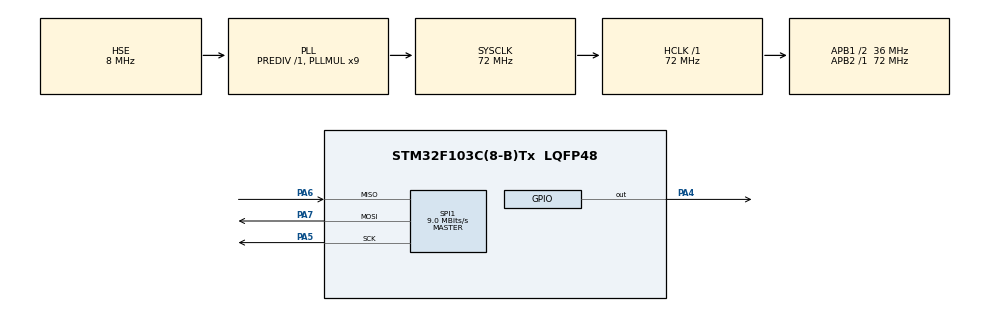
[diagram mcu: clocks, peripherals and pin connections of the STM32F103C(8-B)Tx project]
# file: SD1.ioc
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FATFS._MAX_SS=4096
FATFS._USE_LFN=1
Mcu.Family=STM32F1
Mcu.Name=STM32F103C(8-B)Tx
Mcu.Package=LQFP48
NVIC.PriorityGroup=NVIC_PRIORITYGROUP_4
PA13.Mode=Serial_Wire
PA13.Signal=SYS_JTMS-SWDIO
PA14.Mode=Serial_Wire
PA14.Signal=SYS_JTCK-SWCLK
PA4.Signal=GPIO_Output
PA5.Mode=Full_Duplex_Master
PA5.Signal=SPI1_SCK
PA6.Mode=Full_Duplex_Master
PA6.Signal=SPI1_MISO
PA7.Mode=Full_Duplex_Master
PA7.Signal=SPI1_MOSI
PD0-OSC_IN.Mode=HSE-External-Oscillator
PD0-OSC_IN.Signal=RCC_OSC_IN
PD1-OSC_OUT.Mode=HSE-External-Oscillator
PD1-OSC_OUT.Signal=RCC_OSC_OUT
ProjectManager.HeapSize=0x200
ProjectManager.StackSize=0x400
ProjectManager.TargetToolchain=STM32CubeIDE
RCC.AHBFreq_Value=72000000
RCC.APB1CLKDivider=RCC_HCLK_DIV2
RCC.APB1Freq_Value=36000000
RCC.APB1TimFreq_Value=72000000
RCC.APB2Freq_Value=72000000
RCC.APB2TimFreq_Value=72000000
RCC.HCLKFreq_Value=72000000
RCC.PLLMUL=RCC_PLL_MUL9
RCC.PLLSourceVirtual=RCC_PLLSOURCE_HSE
RCC.SYSCLKFreq_VALUE=72000000
RCC.SYSCLKSource=RCC_SYSCLKSOURCE_PLLCLK
RCC.USBFreq_Value=72000000
SPI1.BaudRatePrescaler=SPI_BAUDRATEPRESCALER_8
SPI1.CalculateBaudRate=9.0 MBits/s
SPI1.Direction=SPI_DIRECTION_2LINES
SPI1.Mode=SPI_MODE_MASTER
SPI1.VirtualType=VM_MASTER
VP_FATFS_VS_Generic.Mode=User_defined
board=custom

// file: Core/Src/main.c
/* USER CODE BEGIN Header */
/**
  ******************************************************************************
  * @file           : main.c
  * @brief          : Main program body
  ******************************************************************************
  * @attention
  *
  * Copyright (c) 2022 STMicroelectronics.
  * All rights reserved.
  *
  * This software is licensed under terms that can be found in the LICENSE file
  * in the root directory of this software component.
  * If no LICENSE file comes with this software, it is provided AS-IS.
  *
  ******************************************************************************
  */
/* USER CODE END Header */
#include "main.h"
#include "fatfs.h"
#include <string.h>

/* USER CODE BEGIN PD */
FATFS fs;
FIL fil,fil1;
char buffer_SD[3];
char escritura_SD[3];
uint8_t lectura_SD;
/* USER CODE END PD */

 SPI_HandleTypeDef hspi1;

void SystemClock_Config(void);
static void MX_GPIO_Init(void);
static void MX_SPI1_Init(void);

int main(void)
{

  /* MCU Configuration--------------------------------------------------------*/

  /* Reset of all peripherals, Initializes the Flash interface and the Systick. */
  HAL_Init();

  /* Configure the system clock */
  SystemClock_Config();

  /* Initialize all configured peripherals */
  MX_GPIO_Init();
  MX_SPI1_Init();
  MX_FATFS_Init();
  /* USER CODE BEGIN 2 */
  HAL_Delay(500);

  if(f_mount(&fs, "", 0)) lectura_SD = 0; // Si no se monta la SD pedir que se reinicie el sistema

  if(f_open(&fil, "Sensores.txt", FA_OPEN_ALWAYS | FA_WRITE | FA_READ)) lectura_SD = 0; // Da error si no hay tarjeta, pantalla error SD

  f_gets(buffer_SD, 4, &fil);

  if(f_truncate(&fil)) lectura_SD = 0;  // Si se desconecto la tarjeta o hay error, mandar a ventana error SD

  if(f_lseek(&fil, 0)) lectura_SD = 0;  // Si se desconecto la tarjeta o hay error, mandar a ventana error SD

  escritura_SD[0] = 117;
  escritura_SD[1] = 119;
  escritura_SD[2] = 117;
  f_puts(escritura_SD, &fil);

  /*f_open(&fil1, "write.txt", FA_OPEN_ALWAYS | FA_WRITE | FA_READ);
  f_lseek(&fil1, fil1.fsize);
  f_puts("Probando\n", &fil1);
  f_close(&fil1);*/

  if(f_close(&fil)) lectura_SD = 0;  // Si se desconecto la tarjeta o hay error, mandar a ventana error SD
  /* USER CODE END 2 */

  /* Infinite loop */
  while (1)
  {

  }
}

void SystemClock_Config(void)
{
  RCC_OscInitTypeDef RCC_OscInitStruct = {0};
  RCC_ClkInitTypeDef RCC_ClkInitStruct = {0};

  /** Initializes the RCC Oscillators according to the specified parameters
  * in the RCC_OscInitTypeDef structure.
  */
  RCC_OscInitStruct.OscillatorType = RCC_OSCILLATORTYPE_HSE;
  RCC_OscInitStruct.HSEState = RCC_HSE_ON;
  RCC_OscInitStruct.HSEPredivValue = RCC_HSE_PREDIV_DIV1;
  RCC_OscInitStruct.HSIState = RCC_HSI_ON;
  RCC_OscInitStruct.PLL.PLLState = RCC_PLL_ON;
  RCC_OscInitStruct.PLL.PLLSource = RCC_PLLSOURCE_HSE;
  RCC_OscInitStruct.PLL.PLLMUL = RCC_PLL_MUL9;
  if (HAL_RCC_OscConfig(&RCC_OscInitStruct) != HAL_OK)
  {
    Error_Handler();
  }

  /** Initializes the CPU, AHB and APB buses clocks
  */
  RCC_ClkInitStruct.ClockType = RCC_CLOCKTYPE_HCLK|RCC_CLOCKTYPE_SYSCLK
                              |RCC_CLOCKTYPE_PCLK1|RCC_CLOCKTYPE_PCLK2;
  RCC_ClkInitStruct.SYSCLKSource = RCC_SYSCLKSOURCE_PLLCLK;
  RCC_ClkInitStruct.AHBCLKDivider = RCC_SYSCLK_DIV1;
  RCC_ClkInitStruct.APB1CLKDivider = RCC_HCLK_DIV2;
  RCC_ClkInitStruct.APB2CLKDivider = RCC_HCLK_DIV1;

  if (HAL_RCC_ClockConfig(&RCC_ClkInitStruct, FLASH_LATENCY_2) != HAL_OK)
  {
    Error_Handler();
  }
}

static void MX_SPI1_Init(void)
{

  /* SPI1 parameter configuration*/
  hspi1.Instance = SPI1;
  hspi1.Init.Mode = SPI_MODE_MASTER;
  hspi1.Init.Direction = SPI_DIRECTION_2LINES;
  hspi1.Init.DataSize = SPI_DATASIZE_8BIT;
  hspi1.Init.CLKPolarity = SPI_POLARITY_LOW;
  hspi1.Init.CLKPhase = SPI_PHASE_1EDGE;
  hspi1.Init.NSS = SPI_NSS_SOFT;
  hspi1.Init.BaudRatePrescaler = SPI_BAUDRATEPRESCALER_8;
  hspi1.Init.FirstBit = SPI_FIRSTBIT_MSB;
  hspi1.Init.TIMode = SPI_TIMODE_DISABLE;
  hspi1.Init.CRCCalculation = SPI_CRCCALCULATION_DISABLE;
  hspi1.Init.CRCPolynomial = 10;
  if (HAL_SPI_Init(&hspi1) != HAL_OK)
  {
    Error_Handler();
  }

}

static void MX_GPIO_Init(void)
{
  GPIO_InitTypeDef GPIO_InitStruct = {0};

  /* GPIO Ports Clock Enable */
  __HAL_RCC_GPIOD_CLK_ENABLE();
  __HAL_RCC_GPIOA_CLK_ENABLE();

  /*Configure GPIO pin Output Level */
  HAL_GPIO_WritePin(GPIOA, GPIO_PIN_4, GPIO_PIN_RESET);

  /*Configure GPIO pin : PA4 */
  GPIO_InitStruct.Pin = GPIO_PIN_4;
  GPIO_InitStruct.Mode = GPIO_MODE_OUTPUT_PP;
  GPIO_InitStruct.Pull = GPIO_NOPULL;
  GPIO_InitStruct.Speed = GPIO_SPEED_FREQ_LOW;
  HAL_GPIO_Init(GPIOA, &GPIO_InitStruct);

}

void Error_Handler(void)
{
  __disable_irq();
  while (1)
  {
  }
}
